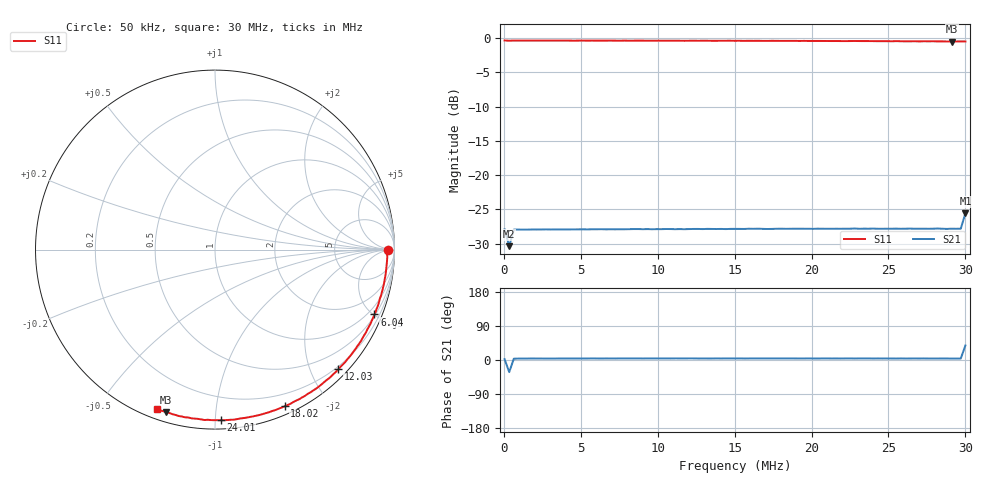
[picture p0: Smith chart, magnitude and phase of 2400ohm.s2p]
# HZ S RI R 50
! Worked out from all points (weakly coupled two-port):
!   101 points, 50 kHz to 30 MHz, reference 50 ohm
!   highest |S21| = -25.56 dB at 30 MHz (marker M1); lowest = -30.4 dB at 349.5 kHz (marker M2)
!   lowest |S11| = -0.5 dB at 29.1 MHz (marker M3), VSWR 35.13, Z = 2.21 - j37.2 ohm
!   |S11| at or under -10 dB: nowhere
!   S12 and S22 are empty: the file has one direction only
!   S11 on the Smith chart (normalised r, x): 50 kHz: 51, -3; 6.04 MHz: 0.56, -5.05; 12.03 MHz: 0.15, -2.46; 18.02 MHz: 0.08, -1.54; 24.01 MHz: 0.05, -1.03; 30 MHz: 0.04, -0.70
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50000  0.9619 -0.00182  0.0402 0.0015  0 0  0 0
349500  0.9575 -0.0215  0.0257 -0.0161  0 0  0 0
649000  0.9599 -0.0396  0.04 0.0024  0 0  0 0
3045000  0.9421 -0.1867  0.04 0.00264  0 0  0 0
5141500  0.9083 -0.3104  0.0401 0.00278  0 0  0 0
6040000  0.8884 -0.3613  0.0402 0.00283  0 0  0 0
7837000  0.8416 -0.4609  0.0402 0.00296  0 0  0 0
1.0233e7  0.7604 -0.5838  0.0402 0.00299  0 0  0 0
1.203e7  0.6875 -0.6666  0.0403 0.003  0 0  0 0
1.3228e7  0.6342 -0.7179  0.0404 0.00284  0 0  0 0
1.5025e7  0.5475 -0.7846  0.0404 0.0029  0 0  0 0
1.65225e7  0.47 -0.8333  0.0406 0.00292  0 0  0 0
1.802e7  0.3879 -0.8729  0.0405 0.00299  0 0  0 0
2.01165e7  0.2664 -0.9162  0.0405 0.00285  0 0  0 0
2.2812e7  0.1056 -0.9475  0.0407 0.00285  0 0  0 0
2.401e7  0.0323 -0.9505  0.0406 0.00284  0 0  0 0
2.5208e7  -0.0395 -0.9481  0.0405 0.00284  0 0  0 0
2.55075e7  -0.0586 -0.9495  0.0406 0.00276  0 0  0 0
2.73045e7  -0.1669 -0.9343  0.0405 0.00289  0 0  0 0
2.91015e7  -0.2715 -0.9048  0.0406 0.00265  0 0  0 0
2.97005e7  -0.3072 -0.8956  0.0406 0.00276  0 0  0 0
3e7  -0.3247 -0.8885  0.0414 0.0327  0 0  0 0
